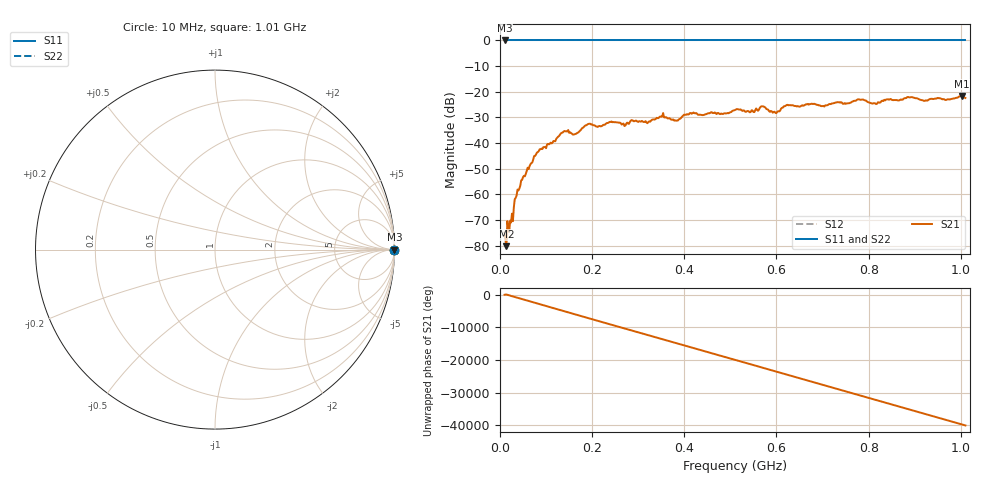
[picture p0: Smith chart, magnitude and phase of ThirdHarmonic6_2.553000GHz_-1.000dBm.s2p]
! 8/17/2025 5:14:03 AM
! C:\ANRITSUVNA\TEMP\TEMP.S2P
! CHANNEL.1
! TR.MEASUREMENT
! RAW.DATA
! RF.CORRECTION.OFF
! AVERAGING.OFF
! IF.BANDWIDTH: 5KHZ
! SWEEPTYPE:  FREQ.SWEEP(Linear)
! Reference Plane Port Info
! PORT:  PORT1  PORT2
! DISTANCE:  0  m  0  m
! TIME:  0  s  0  s
! PHASE.OFFSET:  0  deg.  0  deg.
! LOSS:  0  dB  0  dB
! REF.LOSS:  0  dB  0  dB
! REF.FREQ:  0  Hz  0  Hz
! Power Info
! POWER:  -20  dBm  -20  dBm
! EFF.POWER:  -20  dBm  -20  dBm
! SOURCE.ATTEN:  0  dB  0  dB
! TEST.ATTEN:  0  dB  0  dB
# GHZ S RI R 50.0
! FREQ.GHZ  S11RE  S11IM  S21RE  S21IM  S12RE  S12IM  S22RE  S22IM
!; PortSelection: Port_12
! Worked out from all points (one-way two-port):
!   501 points, 10 MHz to 1.01 GHz, reference 50 ohm
!   highest |S21| = -21.69 dB at 1.002 GHz (marker M1); lowest = -80.3 dB at 14 MHz (marker M2)
!   lowest |S11| = 0.0 dB at 10 MHz (marker M3)
!   |S11| at or under -10 dB: nowhere
!   |S22| runs from 0.0 to 0.0 dB; largest |S21 - S12| = 1.1
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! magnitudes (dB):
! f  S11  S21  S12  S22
! 10 MHz  0.0  -74.9  0.0  0.0
! 14 MHz  0.0  -80.3  0.0  0.0
! 24 MHz  0.0  -71.0  0.0  0.0
! 34 MHz  0.0  -61.4  0.0  0.0
! 42 MHz  0.0  -57.8  0.0  0.0
! 78 MHz  0.0  -44.5  0.0  0.0
! 136 MHz  0.0  -35.9  0.0  0.0
! 162 MHz  0.0  -36.6  0.0  0.0
! 178 MHz  0.0  -34.2  0.0  0.0
! 192 MHz  0.0  -32.6  0.0  0.0
! 344 MHz  0.0  -30.3  0.0  0.0
! 382 MHz  0.0  -31.3  0.0  0.0
! 416 MHz  0.0  -28.6  0.0  0.0
! 510 MHz  0.0  -27.1  0.0  0.0
! 548 MHz  0.0  -27.3  0.0  0.0
! 570 MHz  0.0  -25.7  0.0  0.0
! 596 MHz  0.0  -27.8  0.0  0.0
! 620 MHz  0.0  -25.5  0.0  0.0
! 678 MHz  0.0  -24.8  0.0  0.0
! 844 MHz  0.0  -23.1  0.0  0.0
! 1.002 GHz  0.0  -21.7  0.0  0.0
! 1.01 GHz  0.0  -22.4  0.0  0.0
